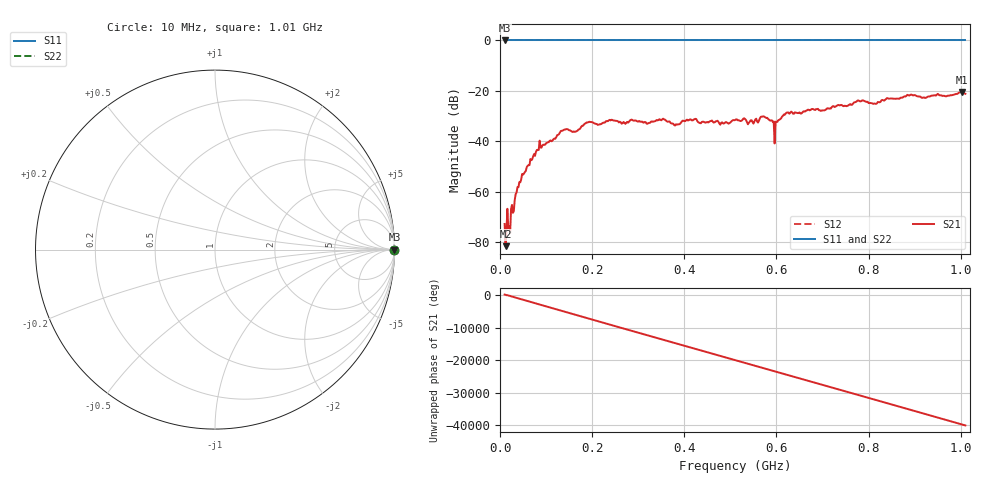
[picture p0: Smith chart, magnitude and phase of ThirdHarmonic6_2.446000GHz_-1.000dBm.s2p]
! 8/17/2025 4:20:23 AM
! C:\ANRITSUVNA\TEMP\TEMP.S2P
! CHANNEL.1
! TR.MEASUREMENT
! RAW.DATA
! RF.CORRECTION.OFF
! AVERAGING.OFF
! IF.BANDWIDTH: 5KHZ
! SWEEPTYPE:  FREQ.SWEEP(Linear)
! Reference Plane Port Info
! PORT:  PORT1  PORT2
! DISTANCE:  0  m  0  m
! TIME:  0  s  0  s
! PHASE.OFFSET:  0  deg.  0  deg.
! LOSS:  0  dB  0  dB
! REF.LOSS:  0  dB  0  dB
! REF.FREQ:  0  Hz  0  Hz
! Power Info
! POWER:  -20  dBm  -20  dBm
! EFF.POWER:  -20  dBm  -20  dBm
! SOURCE.ATTEN:  0  dB  0  dB
! TEST.ATTEN:  0  dB  0  dB
# GHZ S RI R 50.0
! FREQ.GHZ  S11RE  S11IM  S21RE  S21IM  S12RE  S12IM  S22RE  S22IM
!; PortSelection: Port_12
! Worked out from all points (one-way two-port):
!   501 points, 10 MHz to 1.01 GHz, reference 50 ohm
!   highest |S21| = -20.49 dB at 1.002 GHz (marker M1); lowest = -81.7 dB at 12 MHz (marker M2)
!   lowest |S11| = 0.0 dB at 10 MHz (marker M3)
!   |S11| at or under -10 dB: nowhere
!   |S22| runs from 0.0 to 0.0 dB; largest |S21 - S12| = 1.1
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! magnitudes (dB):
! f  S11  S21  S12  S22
! 10 MHz  0.0  -72.9  0.0  0.0
! 12 MHz  0.0  -81.7  0.0  0.0
! 22 MHz  0.0  -76.5  0.0  0.0
! 38 MHz  0.0  -58.2  0.0  0.0
! 46 MHz  0.0  -55.2  0.0  0.0
! 82 MHz  0.0  -43.4  0.0  0.0
! 136 MHz  0.0  -35.8  0.0  0.0
! 162 MHz  0.0  -36.3  0.0  0.0
! 178 MHz  0.0  -33.9  0.0  0.0
! 240 MHz  0.0  -31.7  0.0  0.0
! 344 MHz  0.0  -31.6  0.0  0.0
! 382 MHz  0.0  -33.3  0.0  0.0
! 410 MHz  0.0  -31.6  0.0  0.0
! 510 MHz  0.0  -31.6  0.0  0.0
! 540 MHz  0.0  -32.7  0.0  0.0
! 572 MHz  0.0  -30.1  0.0  0.0
! 598 MHz  0.0  -32.3  0.0  0.0
! 620 MHz  0.0  -29.0  0.0  0.0
! 678 MHz  0.0  -27.2  0.0  0.0
! 844 MHz  0.0  -23.1  0.0  0.0
! 1.002 GHz  0.0  -20.5  0.0  0.0
! 1.01 GHz  0.0  -21.2  0.0  0.0
